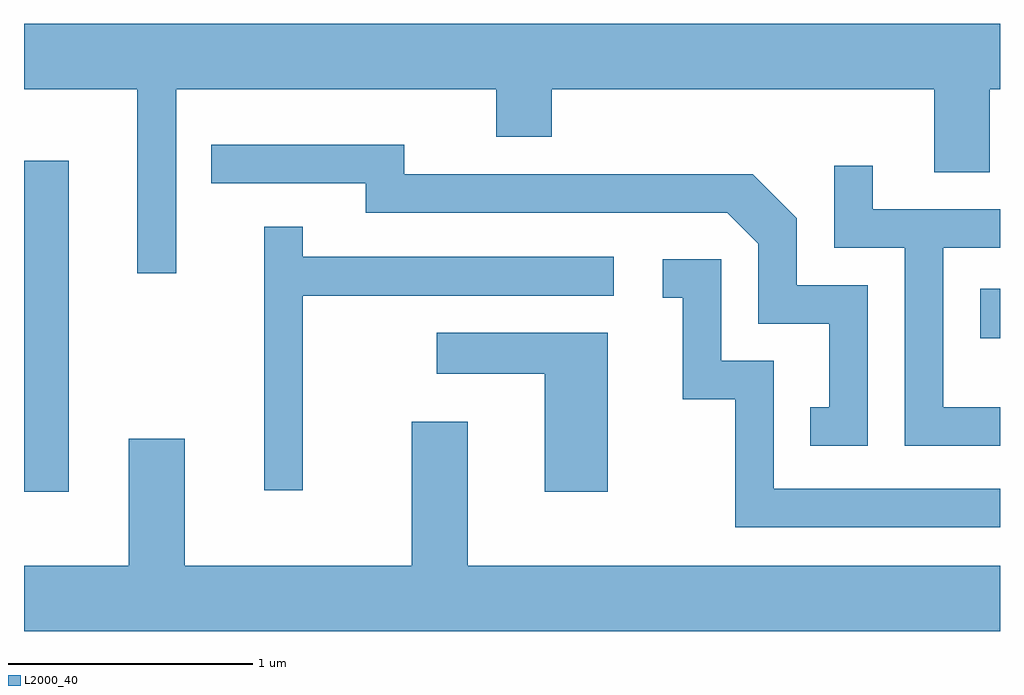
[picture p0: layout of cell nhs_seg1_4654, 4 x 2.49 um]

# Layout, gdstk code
import gdstk
lib = gdstk.Library(unit=1e-6, precision=1e-09)
def R(c, l, rs):  # rectangles x0, y0, x1, y1
    for r in rs: c.add(gdstk.rectangle(r[:2], r[2:], *l))
def P(c, l, *ps):  # polygons
    for p in ps: c.add(gdstk.Polygon(p, *l))
L2000_40 = (2000, 40)

nhs_seg1_4654 = lib.new_cell('nhs_seg1_4654')
R(nhs_seg1_4654, L2000_40, [(325.611,855.746,325.794,857.104), (329.531,856.376,329.611,856.579)])
P(nhs_seg1_4654, L2000_40, [(326.234,857.396),(327.546,857.396),(327.546,857.201),(327.774,857.201),(327.774,857.396),(329.341,857.396),(329.341,857.056),(329.569,857.056),(329.569,857.396),(329.611,857.396),(329.611,857.664),(325.611,857.664),(325.611,857.396),(326.076,857.396),(326.076,856.643),(326.234,856.643)],
  [(329.069,856.594),(328.779,856.594),(328.779,856.867),(328.597,857.049),(327.169,857.049),(327.169,857.169),(326.378,857.169),(326.378,857.011),(327.011,857.011),(327.011,856.891),(328.494,856.891),(328.621,856.764),(328.621,856.436),(328.911,856.436),(328.911,856.094),(328.833,856.094),(328.833,855.936),(329.069,855.936)],
  [(329.611,856.094),(329.379,856.094),(329.379,856.746),(329.611,856.746),(329.611,856.904),(329.089,856.904),(329.089,857.083),(328.931,857.083),(328.931,856.746),(329.221,856.746),(329.221,855.936),(329.611,855.936)],
  [(326.754,856.551),(328.028,856.551),(328.028,856.709),(326.754,856.709),(326.754,856.833),(326.596,856.833),(326.596,855.753),(326.754,855.753)],
  [(329.611,855.759),(328.684,855.759),(328.684,856.284),(328.469,856.284),(328.469,856.699),(328.228,856.699),(328.228,856.541),(328.311,856.541),(328.311,856.126),(328.526,856.126),(328.526,855.601),(329.611,855.601)],
  [(328.004,856.399),(327.303,856.399),(327.303,856.231),(327.746,856.231),(327.746,855.746),(328.004,855.746)],
  [(329.611,855.444),(327.429,855.444),(327.429,856.034),(327.201,856.034),(327.201,855.444),(326.269,855.444),(326.269,855.964),(326.041,855.964),(326.041,855.444),(325.611,855.444),(325.611,855.176),(329.611,855.176)])

lib.write_gds('nhs_seg1_4654.gds')
